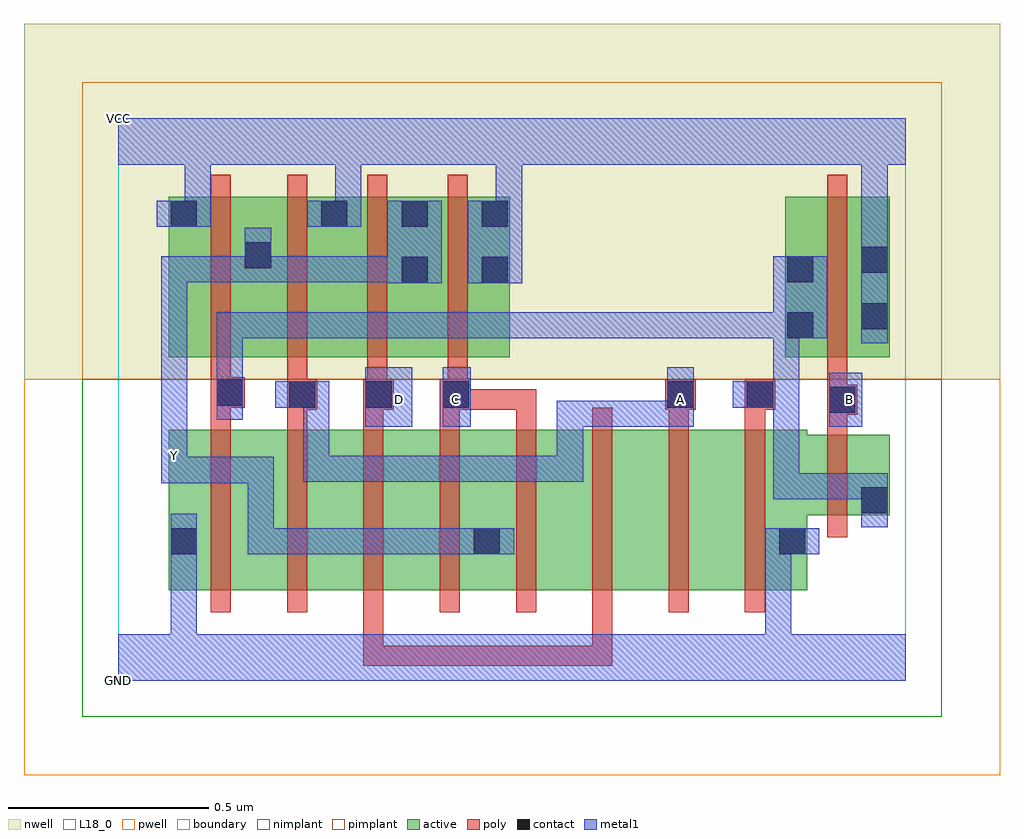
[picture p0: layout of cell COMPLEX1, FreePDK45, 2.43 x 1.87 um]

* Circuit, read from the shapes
.subckt COMPLEX1 A B C D GND VCC Y
M1 n1 n2 GND VSUBS nfet w=0.4u l=0.05u
M2 n3 A n1 VSUBS nfet w=0.4u l=0.05u
M3 n4 D n3 VSUBS nfet w=0.4u l=0.05u
M4 Y C n4 VSUBS nfet w=0.4u l=0.05u
M5 n5 C Y VSUBS nfet w=0.4u l=0.05u
M6 n6 D n5 VSUBS nfet w=0.4u l=0.05u
M7 n7 A n6 VSUBS nfet w=0.4u l=0.05u
M8 GND n2 n7 VSUBS nfet w=0.4u l=0.05u
M9 n2 B GND VSUBS nfet w=0.2u l=0.05u
M10 Y n2 VCC n8 pfet w=0.4u l=0.05u
M11 VCC A Y n8 pfet w=0.4u l=0.05u
M12 Y D VCC n8 pfet w=0.4u l=0.05u
M13 VCC C Y n8 pfet w=0.4u l=0.05u
M14 VCC B n2 n8 pfet w=0.4u l=0.05u
.ends

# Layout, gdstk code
import gdstk
lib = gdstk.Library(unit=1e-6, precision=1e-09)
def R(c, l, rs):  # rectangles x0, y0, x1, y1
    for r in rs: c.add(gdstk.rectangle(r[:2], r[2:], *l))
def A(c, l, x, y, w, h, nx, ny, dx, dy):  # array of equal rectangles
    R(c, l, [(x+i*dx, y+j*dy, x+i*dx+w, y+j*dy+h) for i in range(nx) for j in range(ny)])
active = (1, 0)
pwell = (2, 0)
nwell = (3, 0)
nimplant = (4, 0)
pimplant = (5, 0)
poly = (9, 0)
contact = (10, 0)
metal1 = (11, 0)
L18_0 = (18, 0)
boundary = (235, 0)

complex1 = lib.new_cell('COMPLEX1')
R(complex1, active, [(0.125,0.225,0.35,0.625), (0.125,0.225,0.2,0.625), (0.35,0.225,0.54,0.625), (0.54,0.225,0.73,0.625), (0.73,0.225,0.955,0.625), (0.88,0.225,1.11,0.625), (0.88,0.225,0.955,0.617), (1.11,0.225,1.3,0.625), (1.3,0.225,1.49,0.625), (1.49,0.225,1.715,0.625), (1.64,0.225,1.715,0.597), (1.64,0.412,1.92,0.612), (1.845,0.412,1.92,0.612), (0.125,0.805,0.2,1.205), (0.125,0.805,0.385,1.205), (0.31,0.805,0.575,1.205), (0.5,0.805,0.775,1.205), (0.7,0.805,0.975,1.205), (0.9,0.805,0.975,1.205), (1.66,0.805,1.92,1.205), (1.66,0.805,1.735,1.2), (1.845,0.805,1.92,1.205), (0.31,0.907,0.385,1.2), (0.5,0.907,0.575,1.205), (0.7,0.907,0.775,1.2)])
R(complex1, pwell, [(-0.235,-0.235,2.195,0.75)])
R(complex1, nwell, [(-0.235,0.75,2.195,1.635)])
R(complex1, nimplant, [(-0.09,-0.09,2.05,0.75)])
R(complex1, pimplant, [(-0.09,0.75,2.05,1.49)])
A(complex1, poly, 0.23, 0.17, 0.05, 0.51, 8, 1, 0.19, 0)
A(complex1, poly, 0.42, 0.63, 0.05, 0.095, 4, 1, 0.19, 0)
A(complex1, poly, 0.42, 0.7, 0.05, 0.1, 3, 1, 0.2, 0)
A(complex1, poly, 0.42, 0.75, 0.05, 0.51, 3, 1, 0.2, 0)
R(complex1, poly, [(0.61,0.037,0.66,0.22), (0.61,0.037,0.66,0.087), (0.61,0.037,0.66,0.087), (0.61,0.037,0.66,0.087), (0.61,0.037,0.817,0.087), (0.767,0.037,0.817,0.087), (0.767,0.037,0.817,0.087), (0.767,0.037,0.817,0.087), (0.767,0.037,1.097,0.087), (1.047,0.037,1.097,0.087), (1.047,0.037,1.23,0.087), (1.18,0.037,1.23,0.22), (1.18,0.037,1.23,0.087), (1.18,0.037,1.23,0.087), (1.18,0.037,1.23,0.087), (1.765,0.357,1.815,0.667), (1.765,0.617,1.815,0.712), (0.23,0.63,0.28,0.73), (1.37,0.63,1.42,0.725), (1.56,0.63,1.61,0.725), (1.765,0.662,1.84,0.737), (0.42,0.675,0.495,0.75), (0.61,0.675,0.685,0.75), (0.8,0.675,0.877,0.75), (0.827,0.675,1.04,0.725), (0.99,0.675,1.04,0.725), (0.99,0.675,1.04,0.725), (0.99,0.675,1.04,0.725), (1.362,0.675,1.437,0.75), (1.56,0.675,1.635,0.75), (0.23,0.68,0.315,0.755), (1.765,0.687,1.815,0.8), (0.23,0.705,0.28,0.8), (0.23,0.75,0.28,1.26), (1.765,0.75,1.815,1.26)])
A(complex1, contact, 0.505, 1.13, 0.065, 0.065, 3, 1, 0.2, 0)
R(complex1, contact, [(0.13,0.315,0.195,0.38), (0.885,0.315,0.95,0.38), (1.645,0.315,1.71,0.38), (1.85,0.417,1.915,0.482), (1.77,0.667,1.835,0.732), (0.425,0.68,0.49,0.745), (0.615,0.68,0.68,0.745), (0.807,0.68,0.872,0.745), (1.367,0.68,1.432,0.745), (1.565,0.68,1.63,0.745), (0.245,0.685,0.31,0.75), (1.665,0.852,1.73,0.917), (1.85,0.875,1.915,0.94), (0.705,0.99,0.77,1.055), (0.905,0.99,0.97,1.055), (1.665,0.992,1.73,1.057), (1.85,1.015,1.915,1.08), (0.315,1.027,0.38,1.092), (0.13,1.13,0.195,1.195)])
R(complex1, metal1, [(0,0,1.96,0.115), (0.13,0.05,0.195,0.345), (1.61,0.05,1.675,0.115), (1.61,0.05,1.675,0.115), (1.61,0.05,1.675,0.38), (0.13,0.28,0.195,0.345), (0.13,0.28,0.195,0.345), (0.13,0.28,0.195,0.415), (0.322,0.315,0.387,0.38), (0.322,0.315,0.525,0.38), (0.322,0.315,0.387,0.557), (0.46,0.315,0.525,0.38), (0.46,0.315,0.525,0.38), (0.46,0.315,0.525,0.38), (0.46,0.315,0.662,0.38), (0.597,0.315,0.662,0.38), (0.597,0.315,0.662,0.38), (0.597,0.315,0.662,0.38), (0.597,0.315,0.882,0.38), (0.817,0.315,0.882,0.38), (0.817,0.315,0.915,0.38), (0.85,0.315,0.985,0.38), (1.61,0.315,1.745,0.38), (1.85,0.382,1.915,0.517), (1.63,0.452,1.695,0.517), (1.63,0.452,1.915,0.517), (1.63,0.452,1.695,0.745), (1.85,0.452,1.915,0.517), (1.85,0.452,1.915,0.517), (0.107,0.492,0.172,0.557), (0.107,0.492,0.172,0.557), (0.107,0.492,0.172,0.557), (0.107,0.492,0.172,0.557), (0.107,0.492,0.172,0.627), (0.107,0.492,0.387,0.557), (0.322,0.492,0.387,0.557), (0.46,0.495,0.525,0.56), (0.46,0.495,0.662,0.56), (0.46,0.495,0.525,0.745), (0.597,0.495,0.662,0.56), (0.597,0.495,0.662,0.56), (0.597,0.495,0.662,0.56), (0.597,0.495,0.882,0.56), (0.817,0.495,0.882,0.56), (0.817,0.495,1.02,0.56), (0.955,0.495,1.02,0.56), (0.955,0.495,1.02,0.56), (0.955,0.495,1.02,0.56), (0.955,0.495,1.157,0.56), (1.092,0.495,1.157,0.56), (1.092,0.495,1.157,0.697), (0.107,0.562,0.172,0.627), (0.107,0.562,0.172,0.627), (0.107,0.562,0.172,1.057), (0.615,0.632,0.732,0.78), (0.807,0.632,0.877,0.78), (1.092,0.632,1.157,0.697), (1.092,0.632,1.157,0.697), (1.092,0.632,1.157,0.697), (1.092,0.632,1.295,0.697), (1.23,0.632,1.295,0.697), (1.23,0.632,1.432,0.697), (1.367,0.632,1.432,0.78), (1.77,0.632,1.852,0.767), (0.245,0.65,0.31,0.785), (0.39,0.68,0.525,0.745), (0.46,0.68,0.525,0.745), (0.46,0.68,0.525,0.745), (1.53,0.68,1.665,0.745), (1.6,0.68,1.695,0.745), (1.63,0.68,1.695,0.745), (1.63,0.68,1.695,0.917), (0.245,0.72,0.31,0.785), (0.245,0.72,0.31,0.785), (0.245,0.72,0.31,0.917), (1.85,0.84,1.915,1.115), (0.245,0.852,0.31,0.917), (0.245,0.852,0.525,0.917), (0.46,0.852,0.525,0.917), (0.46,0.852,0.525,0.917), (0.46,0.852,0.525,0.917), (0.46,0.852,0.735,0.917), (0.67,0.852,0.735,0.917), (0.67,0.852,0.735,0.917), (0.67,0.852,0.735,0.917), (0.67,0.852,0.872,0.917), (0.807,0.852,0.872,0.917), (0.807,0.852,0.872,0.917), (0.807,0.852,0.872,0.917), (0.807,0.852,1.02,0.917), (0.955,0.852,1.02,0.917), (0.955,0.852,1.157,0.917), (1.092,0.852,1.157,0.917), (1.092,0.852,1.295,0.917), (1.23,0.852,1.295,0.917), (1.23,0.852,1.295,0.917), (1.23,0.852,1.295,0.917), (1.23,0.852,1.457,0.917), (1.392,0.852,1.457,0.917), (1.392,0.852,1.457,0.917), (1.392,0.852,1.457,0.917), (1.392,0.852,1.695,0.917), (1.63,0.852,1.695,0.917), (1.63,0.852,1.695,0.917), (1.63,0.852,1.765,1.057), (0.67,0.99,0.805,1.195), (0.87,0.99,1.005,1.195), (0.107,0.992,0.172,1.057), (0.107,0.992,0.172,1.057), (0.107,0.992,0.172,1.057), (0.107,0.992,0.38,1.057), (0.315,0.992,0.38,1.127), (0.315,0.992,0.525,1.057), (0.46,0.992,0.525,1.057), (0.46,0.992,0.525,1.057), (0.46,0.992,0.525,1.057), (0.46,0.992,0.735,1.057), (0.67,0.992,0.735,1.057), (0.67,0.992,0.735,1.057), (1.85,1.05,1.915,1.35), (0.095,1.13,0.23,1.195), (0.165,1.13,0.23,1.35), (0.47,1.13,0.605,1.195), (0.54,1.13,0.605,1.35), (0.94,1.13,1.005,1.35), (0,1.285,1.96,1.4)])
A(complex1, L18_0, 0.107, 0.492, 0.065, 0.065, 1, 3, 0, 0.035)
R(complex1, L18_0, [(0,0,1.96,0.115), (0.13,0.05,0.195,0.345), (1.61,0.05,1.675,0.115), (1.61,0.05,1.675,0.115), (1.61,0.05,1.675,0.38), (0.13,0.28,0.195,0.345), (0.13,0.28,0.195,0.345), (0.13,0.28,0.195,0.415), (0.322,0.315,0.387,0.38), (0.322,0.315,0.387,0.557), (0.322,0.315,0.525,0.38), (0.46,0.315,0.525,0.38), (0.46,0.315,0.525,0.38), (0.46,0.315,0.525,0.38), (0.46,0.315,0.662,0.38), (0.597,0.315,0.662,0.38), (0.597,0.315,0.662,0.38), (0.597,0.315,0.662,0.38), (0.597,0.315,0.882,0.38), (0.817,0.315,0.882,0.38), (0.817,0.315,0.915,0.38), (0.85,0.315,0.985,0.38), (1.61,0.315,1.745,0.38), (0.107,0.492,0.172,0.557), (0.107,0.492,0.172,0.557), (0.107,0.492,0.172,0.557), (0.107,0.492,0.172,0.627), (0.107,0.492,0.387,0.557), (0.322,0.492,0.387,0.557), (0.46,0.495,0.525,0.56), (0.46,0.495,0.525,0.745), (0.46,0.495,0.662,0.56), (0.597,0.495,0.662,0.56), (0.597,0.495,0.662,0.56), (0.597,0.495,0.662,0.56), (0.597,0.495,0.882,0.56), (0.817,0.495,0.882,0.56), (0.817,0.495,1.02,0.56), (0.955,0.495,1.02,0.56), (0.955,0.495,1.02,0.56), (0.955,0.495,1.02,0.56), (0.955,0.495,1.157,0.56), (1.092,0.495,1.157,0.56), (1.092,0.495,1.157,0.697), (0.107,0.562,0.172,0.627), (0.107,0.562,0.172,1.057), (0.615,0.632,0.732,0.78), (0.807,0.632,0.877,0.78), (1.092,0.632,1.157,0.697), (1.092,0.632,1.157,0.697), (1.092,0.632,1.157,0.697), (1.092,0.632,1.295,0.697), (1.23,0.632,1.295,0.697), (1.23,0.632,1.432,0.697), (1.367,0.632,1.432,0.78), (1.77,0.632,1.852,0.767), (0.667,0.667,0.732,0.732), (0.807,0.667,0.872,0.732), (1.367,0.667,1.432,0.732), (1.787,0.667,1.852,0.732), (0.39,0.68,0.525,0.745), (0.46,0.68,0.525,0.745), (0.46,0.68,0.525,0.745), (1.85,0.84,1.915,1.115), (0.67,0.99,0.805,1.195), (0.87,0.99,1.005,1.195), (0.107,0.992,0.172,1.057), (0.107,0.992,0.172,1.057), (0.107,0.992,0.172,1.057), (0.107,0.992,0.38,1.057), (0.315,0.992,0.38,1.127), (0.315,0.992,0.525,1.057), (0.46,0.992,0.525,1.057), (0.46,0.992,0.525,1.057), (0.46,0.992,0.525,1.057), (0.46,0.992,0.735,1.057), (0.67,0.992,0.735,1.057), (0.67,0.992,0.735,1.057), (1.85,1.05,1.915,1.35), (0.095,1.13,0.23,1.195), (0.165,1.13,0.23,1.35), (0.47,1.13,0.605,1.195), (0.54,1.13,0.605,1.35), (0.94,1.13,1.005,1.35), (0,1.285,1.96,1.4)])
R(complex1, boundary, [(0,0,1.96,1.4)])
complex1.add(gdstk.Label('A', (1.4,0.7), layer=11, texttype=0))
complex1.add(gdstk.Label('B', (1.82,0.7), layer=11, texttype=0))
complex1.add(gdstk.Label('C', (0.84,0.7), layer=11, texttype=0))
complex1.add(gdstk.Label('D', (0.7,0.7), layer=11, texttype=0))
complex1.add(gdstk.Label('Y', (0.14,0.56), layer=11, texttype=0))
complex1.add(gdstk.Label('VCC', (0,1.4), layer=11, texttype=0))
complex1.add(gdstk.Label('GND', (0,0), layer=11, texttype=0))

lib.write_gds('COMPLEX1.gds')
